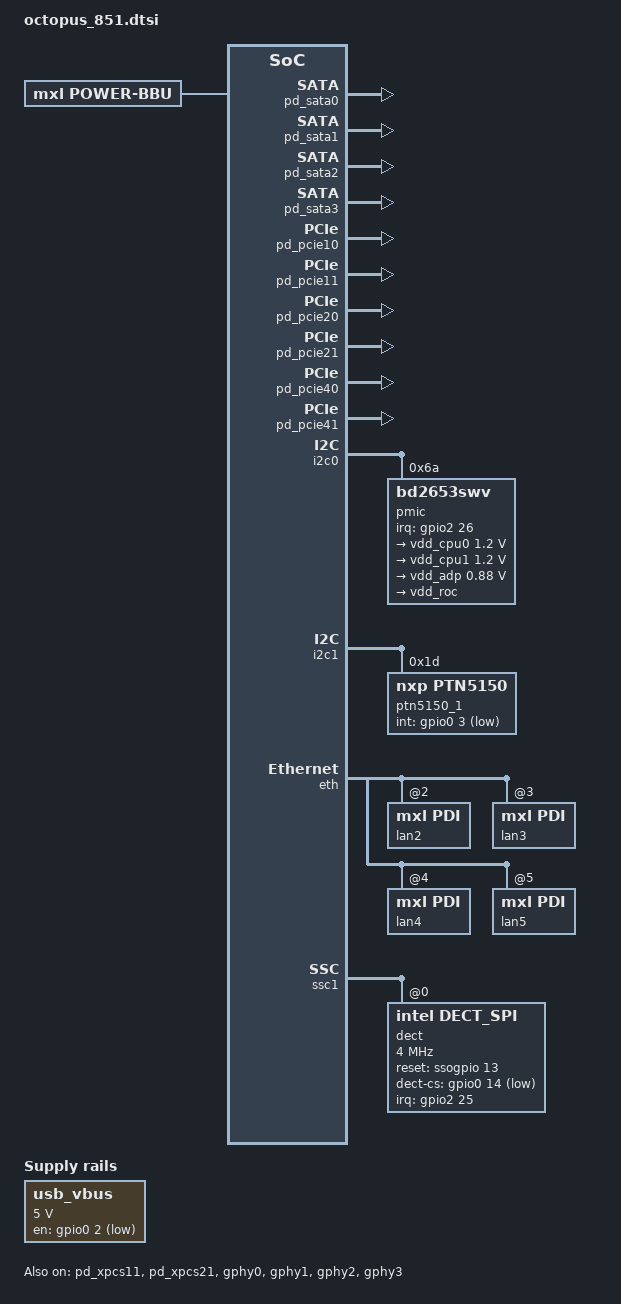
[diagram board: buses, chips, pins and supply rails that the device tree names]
// SPDX-License-Identifier: GPL-2.0
/*
 * Copyright (C) 2020-2022 MaxLinear, Inc.
 * Copyright (C) 2019-2020 Intel Corporation.
 */

#include <dt-bindings/gpio/gpio.h>
#include <dt-bindings/interrupt-controller/irq.h>
#include <dt-bindings/thermal/thermal.h>

#include "lightning_mountain.dtsi"
#include "firewall_domain.dtsi"
#include "noc_firewall.dtsi"
#include "lgp_thermal.dtsi"

&pd_sata0 {
	status = "okay";
};

&pd_sata1 {
        status = "okay";
};

&pd_sata2 {
        status = "okay";
};

&pd_sata3 {
        status = "okay";
};

&pd_pcie10 {
        status = "okay";
};

&pd_pcie11 {
        status = "okay";
};

&pd_pcie20 {
        status = "okay";
};

&pd_pcie21 {
        status = "okay";
};

&pd_pcie40 {
        status = "okay";
};

&pd_pcie41 {
        status = "okay";
};

&pd_xpcs11 {
        status = "okay";
};

&pd_xpcs21 {
        status = "okay";
};

/* EMMC setting */
&emmc {
	status = "disabled";
	bus-width = <8>;
	non-removable;
	no-mmc-hs400;
};

&emmc_phy {
	status = "disabled";
};

&gphy0 {
	status = "okay";
	reg = <0x10>;
};

&gphy1 {
	status = "okay";
	reg = <0x11>;
};

&gphy2 {
	status = "okay";
	reg = <0x12>;
};

&gphy3 {
	status = "okay";
	reg = <0x13>;
};

/******************************************************************************
 ** Board configuration: XPCS SERDES Parameters
 ******************************************************************************/
&wan_xpcs {
	rx_attn_lvl = <0 0 0 0 0 0 0 0>;
	rx_ctle_boost = <18 18 18 16 16 16 16 16>;
	rx_ctle_pole = <0 0 0 2 2 2 2 2>;
	rx_vga1_gain = <4 4 4 5 5 5 5 5>;
	rx_vga2_gain = <4 4 4 5 5 5 5 5>;
	rx_dfe_bypass = <1 1 1 0 0 0 0 0>;
	cont_adapt_en = <0 0 0 1 1 1 1 1>;
	rx_cali = <0 0 0 0 0 0 0 0>;
	tx_vboost_en = <1 1 1 1 1 1 1 1>;
	tx_vboost_lvl = <5 5 5 5 5 5 5 5>;
	tx_iboost_lvl = <15 15 15 15 15 15 15 15>;
	tx_eq_main = <16 16 19 28 28 28 28 28>;
	tx_eq_pre = <4 4 4 16 16 16 16 16>;
	tx_eq_post = <4 4 4 32 32 32 32 32>;
	tx_eq_ovrride = <1 1 1 1 1 1 1 1>;
};

&lan_xpcs {
	rx_attn_lvl = <0 0 0 7 7 7 7 7>;
	rx_ctle_boost = <18 18 18 0 0 0 0 0>;
	rx_ctle_pole = <0 0 0 2 2 2 2 2>;
	rx_vga1_gain = <4 4 4 5 5 5 5 5>;
	rx_vga2_gain = <4 4 4 5 5 5 5 5>;
	rx_dfe_bypass = <1 1 1 1 1 1 1 1>;
	cont_adapt_en = <0 0 0 1 1 1 1 1>;
	rx_cali = <0 0 0 0 0 0 0 0>;
	tx_vboost_en = <1 1 1 1 1 1 1 1>;
	tx_vboost_lvl = <5 5 5 5 5 5 5 5>;
	tx_iboost_lvl = <15 15 15 15 15 15 15 15>;
	tx_eq_main = <16 16 19 40 40 40 40 40>;
	tx_eq_pre = <4 4 4 0 0 0 0 0>;
	tx_eq_post = <4 4 4 0 0 0 0 0>;
	tx_eq_ovrride = <1 1 1 1 1 1 1 1>;
};

&hsior_xpcs0 {
	rx_attn_lvl = <0 0 0 0 0 0 0 0>;
	rx_ctle_boost = <18 18 18 16 16 16 16 16>;
	rx_ctle_pole = <0 0 0 2 2 2 2 2>;
	rx_vga1_gain = <4 4 4 5 5 5 5 5>;
	rx_vga2_gain = <4 4 4 5 5 5 5 5>;
	rx_dfe_bypass = <1 1 1 0 0 0 0 0>;
	cont_adapt_en = <0 0 0 1 1 1 1 1>;
	rx_cali = <1 1 1 1 1 1 1 1>;
	tx_vboost_en = <1 1 1 1 1 1 1 1>;
	tx_vboost_lvl = <5 5 5 5 5 5 5 5>;
	tx_iboost_lvl = <15 15 15 15 15 15 15 15>;
	tx_eq_main = <16 16 19 28 28 28 28 28>;
	tx_eq_pre = <4 4 4 16 16 16 16 16>;
	tx_eq_post = <4 4 4 32 32 32 32 32>;
	tx_eq_ovrride = <1 1 1 1 1 1 1 1>;
};

&hsior_xpcs1 {
	rx_attn_lvl = <0 0 0 0 0 0 0 0>;
	rx_ctle_boost = <18 18 18 16 16 16 16 16>;
	rx_ctle_pole = <0 0 0 2 2 2 2 2>;
	rx_vga1_gain = <4 4 4 5 5 5 5 5>;
	rx_vga2_gain = <4 4 4 5 5 5 5 5>;
	rx_dfe_bypass = <1 1 1 0 0 0 0 0>;
	cont_adapt_en = <0 0 0 1 1 1 1 1>;
	rx_cali = <1 1 1 1 1 1 1 1>;
	tx_vboost_en = <1 1 1 1 1 1 1 1>;
	tx_vboost_lvl = <5 5 5 5 5 5 5 5>;
	tx_iboost_lvl = <15 15 15 15 15 15 15 15>;
	tx_eq_main = <16 16 19 28 28 28 28 28>;
	tx_eq_pre = <4 4 4 16 16 16 16 16>;
	tx_eq_post = <4 4 4 32 32 32 32 32>;
	tx_eq_ovrride = <1 1 1 1 1 1 1 1>;
};

/* PCIe */
&pcie10 {
	status = "disabled";
	reset-assert-ms = <200>;
	reset-gpios = <&gpio2 20 GPIO_ACTIVE_LOW>; /* GPIO 84 */
	num-lanes = <2>;
	phys = <&cb0phy0 PHY_TYPE_PCIE_DL>;
};

&pcie20 {
	status = "disabled";
	reset-assert-ms = <200>;
	reset-gpios = <&gpio2 22 GPIO_ACTIVE_LOW>; /* GPIO 86 */
	num-lanes = <2>;
	phys = <&cb2phy0 PHY_TYPE_PCIE_DL>;
};

&pcie30 {
	status = "disabled";
	reset-assert-ms = <200>;
	reset-gpios = <&gpio2 10 GPIO_ACTIVE_LOW>; /* GPIO 74 */
	num-lanes = <2>;
	phys = <&cb1phy0 PHY_TYPE_PCIE_DL>;
};

&pcie40 {
	status = "disabled";
	reset-assert-ms = <200>;
	reset-gpios = <&gpio2 11 GPIO_ACTIVE_LOW>; /* GPIO 75 */
	num-lanes = <2>;
	phys = <&cb3phy0 PHY_TYPE_PCIE_DL>;
};


/ {
	aliases {
		eth0_1 = &lan1;
		eth0_2 = &lan2;
		eth0_3 = &lan3;
		eth0_4 = &lan4;
		eth0_5 = &lan5;
	};

	usb_vbus:regulator-vbus {
		compatible = "regulator-fixed";
		regulator-name = "usb0_vbus";
		regulator-min-microvolt = <5000000>;
		regulator-max-microvolt = <5000000>;
		gpio = <&gpio0 2 1>;
		enable-active-low;
	};
};

&i2c0 {
	pmic: pmic@6a {
		compatible = "bd2653swv";
		pinctrl-names = "default";
		pinctrl-0 = <&pinctrl_pmic_function>;
		reg = <0x6a>;
		interrupt-parent = <&gpio2>;
		interrupts = <26 IRQ_TYPE_LEVEL_HIGH>;

		vdd_cpu0: BUCK0 {
			regulator-compatible = "buck0";
			regulator-name = "cpu0";
			regulator-min-microvolt = <0>;
			regulator-max-microvolt = <1200000>;
		};

		vdd_cpu1: BUCK1 {
			regulator-compatible = "buck1";
			regulator-name = "cpu1";
			regulator-min-microvolt = <0>;
			regulator-max-microvolt = <1200000>;
		};

		vdd_adp: BUCK2 {
			regulator-compatible = "buck2";
			regulator-name = "adp";
			regulator-min-microvolt = <0>;
			regulator-max-microvolt = <880000>;
		};

		vdd_roc: BUCK3 {
			regulator-compatible = "buck3";
			regulator-name = "roc";
		};
	};
};

&i2c1 {
	ptn5150_1: ptn5150@1d {
		compatible = "nxp,ptn5150";
		reg = <0x1d>;
		int-gpio = <&gpio0 3 GPIO_ACTIVE_LOW>;
		status = "okay";
	};
};

&i2c2 {
	at24: at24@0x50 {
		compatible = "atmel,24c64";
		reg = <0x50>;
		status = "disabled";
	};
};

&i2c3 {
	#address-cells = <1>;
	#size-cells = <0>;
	i2c_mux:i2c-mux@70 {
		status = "disabled";
		compatible = "nxp,pca9546";
		#address-cells = <1>;
		#size-cells = <0>;
		reg = <0x70>;
		reset-gpios = <&gpio0 18 GPIO_ACTIVE_LOW>;
	};

	i2c_expander:i2c_expander@44 {
		#address-cells = <1>;
		#size-cells = <0>;
		compatible = "diodes,pi4io";

		status = "disabled";
		reg = <0x44>;
		gpio-controller;
		#gpio-cells = <2>;
	};
};

&pvt {
   rising-alarm = <85000>;
   rising-hsyt = <84500>;
   falling-alarm = <84500>;
   falling-hsyt = <85000>;
};

&epu {
	vdd-cpu0-supply = <&vdd_cpu0>;
	vdd-cpu1-supply = <&vdd_cpu1>;
	vdd-adp-supply = <&vdd_adp>;
};

/******************************************************************************
 ** Board configuration: Configure LAN/WAN interfaces
 ******************************************************************************/
/ {
	sfp_wan0: sfp-wan0 {
		status = "disabled";
		compatible = "sff,sfp";
		i2c-bus = <&i2c2>;
		los-gpios = <&gpio2 5 GPIO_ACTIVE_HIGH>;
		mod-def0-gpios = <&gpio2 18 GPIO_ACTIVE_LOW>;
		maximum-power-milliwatt = <3000>;
		tx-disable-gpios = <&gpio2 9 GPIO_ACTIVE_HIGH>;
		tx-fault-gpios = <&gpio2 8 GPIO_ACTIVE_HIGH>;
	};
};

&pinctrl_mdio_mdc_lan {
	drive-strength = <3>;
};

&mac0_mdio {
	mdc-clkdiv = <62>;
	aqsphylan: ethernet-phy@4 {
		status = "disabled";
		reg = <0>;
		compatible = "ethernet-phy-ieee802.3-c45";
		interrupt-parent = <&ioapic1>;
	};
	aqsphywan: ethernet-phy@5 {
		status = "disabled";
		reg = <8>;
		compatible = "ethernet-phy-ieee802.3-c45";
		interrupt-parent = <&ioapic1>;
	};
};

&p34x {
	phyaddr = <0x10>;
};

&eth {
	status = "okay";

	lan1: interface@1 {
		status = "disabled";
	};

	lan2: interface@2 {
		#address-cells = <1>;
		#size-cells = <0>;
		compatible = "mxl,pdi";
		mxl,dp-dev-port = <5>;
		mxl,dp-port-id = <5>;
		mxl,xgmac-id = <5>;
		mac = <&gsw_mac3>;
		p34x-xpcs-node = <&lan_xpcs>;
		managed = "in-band-status";
		phy = <&gphy0>;
		phy-mode = "sgmii";
		lan2_eth: ethernet@2 {
			compatible = "mxl,pdi-port";
			reg = <2>;
			phy-mode = "rgmii";
			phy-handle = <&gphy0>;
		};
	};

	lan3: interface@3 {
		#address-cells = <1>;
		#size-cells = <0>;
		compatible = "mxl,pdi";
		mxl,dp-dev-port = <6>;
		mxl,dp-port-id = <6>;
		mxl,xgmac-id = <6>;
		mac = <&gsw_mac4>;
		p34x-xpcs-node = <&lan_xpcs>;
		managed = "in-band-status";
		phy = <&gphy1>;
		phy-mode = "sgmii";
		lan3_eth: ethernet@3 {
			compatible = "mxl,pdi-port";
			reg = <3>;
			phy-mode = "rgmii";
			phy-handle = <&gphy1>;
		};
	};

	lan4: interface@4 {
		#address-cells = <1>;
		#size-cells = <0>;
		compatible = "mxl,pdi";
		mxl,dp-dev-port = <7>;
		mxl,dp-port-id = <7>;
		mxl,xgmac-id = <7>;
		mac = <&gsw_mac5>;
		p34x-xpcs-node = <&lan_xpcs>;
		managed = "in-band-status";
		phy = <&gphy2>;
		phy-mode = "sgmii";
		lan4_eth: ethernet@4 {
			compatible = "mxl,pdi-port";
			reg = <4>;
			phy-mode = "rgmii";
			phy-handle = <&gphy2>;
		};
	};

	lan5: interface@5 {
		#address-cells = <1>;
		#size-cells = <0>;
		compatible = "mxl,pdi";
		mxl,dp-dev-port = <8>;
		mxl,dp-port-id = <8>;
		mxl,xgmac-id = <8>;
		mac = <&gsw_mac6>;
		p34x-xpcs-node = <&lan_xpcs>;
		managed = "in-band-status";
		phy = <&gphy3>;
		phy-mode = "sgmii";
		lan5_eth: ethernet@5 {
			compatible = "mxl,pdi-port";
			reg = <5>;
			phy-mode = "rgmii";
			phy-handle = <&gphy3>;
		};
	};

	wan0: interface@8 {
		status = "disabled";
		#address-cells = <1>;
		#size-cells = <0>;
		compatible = "mxl,pdi";
		mxl,wan = <1>;
		mxl,dp-dev-port = <2>;
		mxl,dp-port-id = <2>;
		mxl,dp-port-10g;
		mxl,xgmac-id = <2>;
		mxl,pon_hgu_sim = <0>;
		mac = <&gsw_mac0>;
		phy-mode = "10gbase-kr";
		wan0_eth: ethernet@8 {
			compatible = "mxl,pdi-port";
			reg = <0>;
			phy-mode = "10gbase-kr";
		};
	};
};

/******************************************************************************
**  PCIE devices temperature sensor node definition
*******************************************************************************/
/ {
	wave_6_0: iwlwave@0 {
		compatible = "mxl,wave";
		wave-band = <2>;  /* 6GHz */
		/* type - 0/1,	param - param required for Cooling type
		 * type 0 for Duty Cycle, 1 for Antenna count
		 */
		max-cooling-state = <3>;
		cooling-states = <
			/* type param */
			1  3
			1  2
			1  1
		>;

		#thermal-sensor-cells = <0>;
		#cooling-cells = <2>;
	};

	wave_5_0: iwlwave@1 {
		compatible = "mxl,wave";
		wave-band = <0>;  /* 5GHz */
		/* type - 0/1,	param - param required for Cooling type
		 * type 0 for Duty Cycle, 1 for Antenna count
		 */
		max-cooling-state = <3>;
		cooling-states = <
			/* type param */
			1  3
			1  2
			1  1
		>;

		#thermal-sensor-cells = <0>;
		#cooling-cells = <2>;
	};

	wave_2_4: iwlwave@2 {
		compatible = "mxl,wave";
		wave-band = <1>;  /* 2.4GHz */
		/* type - 0/1,	param - param required for Cooling type
		 * type 0 for Duty Cycle, 1 for Antenna count
		 */
		max-cooling-state = <3>;
		cooling-states = <
			/* type param */
			1  3
			1  2
			1  1
		>;

		#thermal-sensor-cells = <0>;
		#cooling-cells = <2>;
	};
};

/******************************************************************************
 ** Board configuration: Configure DECT interfaces
 ******************************************************************************/
&ssc1 {
	status = "okay";
	pinctrl-names = "default";
	pinctrl-0 = <&pinctrl_spi1>;
	dect@0 {
		compatible = "intel,dect_spi";
		spi-max-frequency = <4000000>;
		reg = <0>;
		interrupts = <25 IRQ_TYPE_EDGE_FALLING>;
		interrupt-parent = <&gpio2>;
		reset-gpios = <&ssogpio 13 GPIO_ACTIVE_HIGH>;
		intel,dect-cs = <&gpio0 14 GPIO_ACTIVE_LOW >;
		spi-cpol;
		spi-cpha;
	};
};

&cgu0 {
	cgussc {
		#address-cells = <1>;
		#size-cells = <0>;

		/* SSC in LJPLL4 for PCIe */
		cgussc1: cgussc@110 {
			reg = <0x110>;
			intel,ssc-enable = <1>;
			intel,ssc-spread = <5>;
			intel,ssc-dir = <1>; /* 0: center, 1: down */
			intel,ssc-divval = <10>;
		};
	};
};

&pinctrl {
	pinctrl_ledc0_rst: ledc0_rst {
		intel,pins = <9>;
		function = "ssoled0_rst";
		pinmux = <0>;
		groups = "ledc0_rst";
	};
};

&ebu_nand {
	status = "disabled";
	nand,cs = <1>;
	nand-ecc-mode = "hw";
	nand-ecc-algo = "bch";
	nand-ecc-strength = <8>;
	pinctrl-names = "default";
	pinctrl-0 = <&pinctrl_ebu_nand_base &pinctrl_ebu_nand_cs1>;
};

&pwm {
	status = "disabled";
	intel,fan-wire = <2>;
	pinctrl-names = "default";
	pinctrl-0 = <&pinctrl_fan_ctrl_in_1 &pinctrl_fan_ctrl_out>;
};

&fan0 {
	status = "disabled";
	pwms = <&pwm 0 40000>;
	#cooling-cells = <2>;
	cooling-levels = <0 30 80 120 150 170 200 220 255>;
};

/ {
	bbu: battery_backup {
		compatible = "mxl,power-bbu";
		status = "okay";
	};
};

&cqm_lgm {
	mxl,cqm_clkrate = <800000000>;
};

&ppv4 {
	assigned-clocks = <&cgu0 LGM_CLK_PP_HW>;
	assigned-clock-rates = <600000000>;
};

&chipid {
	assigned-clocks = <&cgu0 LGM_CLK_NGI>;
	assigned-clock-rates = <600000000>;
};

#include "lgm_pinctrl.dtsi"

